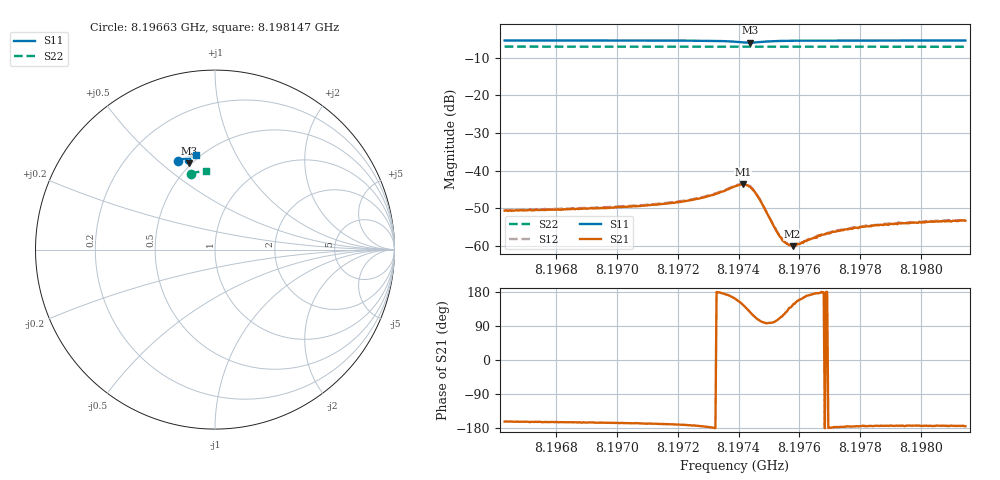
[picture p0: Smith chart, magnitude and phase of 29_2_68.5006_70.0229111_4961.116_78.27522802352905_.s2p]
#  HZ  S  RI  R  50.00
! Rohde & Schwarz Vector Network Analyzer
! Rohde-Schwarz,ZNB20-2Port,1311601062101988,3.16
! Created: UTC 3/20/2024, 4:49:51 PM
! freq[Hz]  re:S11  im:S11  re:S21  im:S21  re:S12  im:S12  re:S22  im:S22
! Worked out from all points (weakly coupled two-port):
!   401 points, 8.19663 GHz to 8.198147 GHz, reference 50 ohm
!   highest |S21| = -43.67 dB at 8.197415 GHz (marker M1); lowest = -60.1 dB at 8.197578 GHz (marker M2)
!   lowest |S11| = -6.0 dB at 8.197438 GHz (marker M3), VSWR 3.01, Z = 24.3 + j31.1 ohm
!   |S11| at or under -10 dB: nowhere
!   |S22| runs from -7.1 to -7.0 dB; largest |S21 - S12| = 0.00034
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8.1966299e9  -0.2052 0.4957  -0.00279 -0.00088  -0.0029 -0.000793  -0.1349 0.4236
8.196884e9  -0.1874 0.5023  -0.003 -0.000777  -0.0031 -0.000707  -0.1213 0.4274
8.1971381e9  -0.1676 0.5082  -0.0035 -0.00069  -0.0036 -0.000566  -0.1073 0.4305
8.197214e9  -0.1603 0.5093  -0.0038 -0.000587  -0.00392 -0.000456  -0.1031 0.4315
8.1972822e9  -0.1524 0.5095  -0.00433 -0.000361  -0.00444 -0.000224  -0.0992 0.4324
8.1973277e9  -0.1456 0.5083  -0.00493 4.28e-05  -0.005 0.000233  -0.0966 0.4326
8.1973884e9  -0.1354 0.4982  -0.00586 0.0019  -0.00587 0.00221  -0.0931 0.433
8.197415e9  -0.136 0.4873  -0.0054 0.00372  -0.00528 0.00401  -0.0917 0.433
8.1974377e9  -0.1454 0.4799  -0.0036 0.00489  -0.00343 0.00513  -0.0909 0.433
8.1974529e9  -0.1535 0.4805  -0.00217 0.00476  -0.00196 0.00494  -0.0903 0.4333
8.1974681e9  -0.1593 0.4848  -0.0011 0.00407  -0.000907 0.00418  -0.0894 0.4336
8.1975325e9  -0.1598 0.5034  -0.000442 0.00132  -0.000376 0.00137  -0.0861 0.4346
8.1975515e9  -0.1575 0.5062  -0.000587 0.000954  -0.000584 0.000974  -0.0848 0.4349
8.1975629e9  -0.1563 0.5074  -0.000704 0.000774  -0.000676 0.000796  -0.0843 0.435
8.197578e9  -0.1545 0.509  -0.000805 0.000569  -0.000821 0.00061  -0.0833 0.4351
8.197597e9  -0.1523 0.5106  -0.000971 0.000407  -0.000972 0.000447  -0.0822 0.4354
8.1976425e9  -0.1477 0.5131  -0.00124 0.000153  -0.00124 0.000203  -0.0797 0.4359
8.1976729e9  -0.1447 0.5145  -0.00141 7.82e-06  -0.00139 9.79e-05  -0.078 0.436
8.1977449e9  -0.1383 0.5167  -0.00161 -9.29e-05  -0.00164 -4.56e-05  -0.0739 0.4367
8.1978132e9  -0.1327 0.5184  -0.00178 -0.000169  -0.00181 -0.000105  -0.07 0.4369
8.1978966e9  -0.1262 0.5203  -0.00192 -0.000203  -0.00195 -0.000126  -0.0655 0.4377
8.1981469e9  -0.1075 0.5244  -0.00214 -0.000204  -0.00218 -0.000136  -0.0515 0.4391
